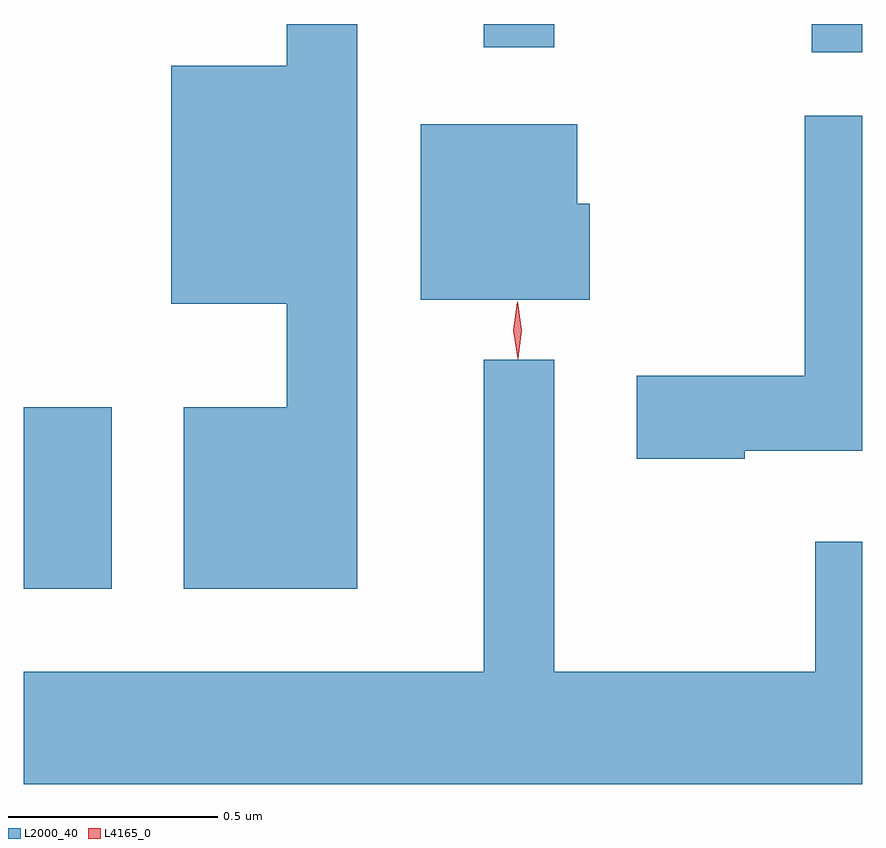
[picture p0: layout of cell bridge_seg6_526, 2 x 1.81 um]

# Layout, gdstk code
import gdstk
lib = gdstk.Library(unit=1e-6, precision=1e-09)
def R(c, l, rs):  # rectangles x0, y0, x1, y1
    for r in rs: c.add(gdstk.rectangle(r[:2], r[2:], *l))
def P(c, l, *ps):  # polygons
    for p in ps: c.add(gdstk.Polygon(p, *l))
L2000_40 = (2000, 40)
L4165_0 = (4165, 0)

bridge_seg6_526 = lib.new_cell('bridge_seg6_526')
R(bridge_seg6_526, L2000_40, [(968.234,1594.901,968.444,1595.334), (970.113,1596.181,970.234,1596.248), (969.331,1596.193,969.499,1596.248)])
P(bridge_seg6_526, L2000_40, [(969.029,1596.248),(968.861,1596.248),(968.861,1596.149),(968.586,1596.149),(968.586,1595.581),(968.861,1595.581),(968.861,1595.334),(968.616,1595.334),(968.616,1594.901),(969.029,1594.901)],
  [(969.954,1595.231),(970.234,1595.231),(970.234,1596.029),(970.096,1596.029),(970.096,1595.409),(969.696,1595.409),(969.696,1595.211),(969.954,1595.211)],
  [(969.584,1595.819),(969.554,1595.819),(969.554,1596.009),(969.181,1596.009),(969.181,1595.591),(969.584,1595.591)],
  [(970.234,1595.014),(970.121,1595.014),(970.121,1594.704),(969.499,1594.704),(969.499,1595.448),(969.331,1595.448),(969.331,1594.704),(968.234,1594.704),(968.234,1594.436),(970.234,1594.436)])
P(bridge_seg6_526, L4165_0, [(969.412,1595.449),(969.412,1595.45),(969.402,1595.518),(969.411,1595.586),(969.412,1595.586),(969.412,1595.586),(969.422,1595.518),(969.413,1595.45)])

lib.write_gds('bridge_seg6_526.gds')
